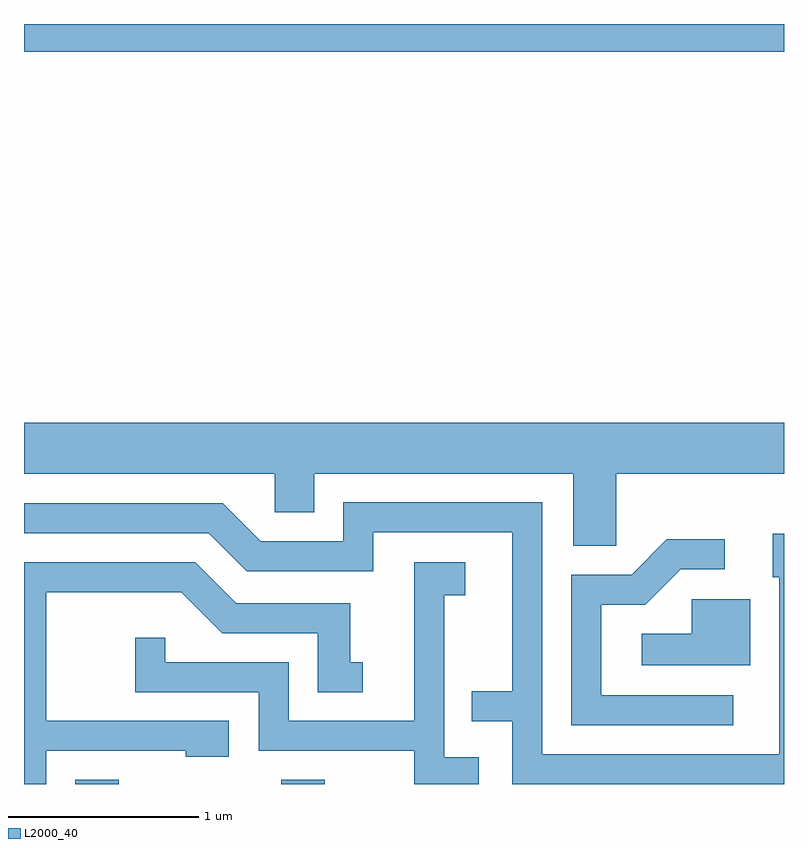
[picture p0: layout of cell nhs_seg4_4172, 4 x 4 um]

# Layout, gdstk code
import gdstk
lib = gdstk.Library(unit=1e-6, precision=1e-09)
def R(c, l, rs):  # rectangles x0, y0, x1, y1
    for r in rs: c.add(gdstk.rectangle(r[:2], r[2:], *l))
def P(c, l, *ps):  # polygons
    for p in ps: c.add(gdstk.Polygon(p, *l))
L2000_40 = (2000, 40)

nhs_seg4_4172 = lib.new_cell('nhs_seg4_4172')
R(nhs_seg4_4172, L2000_40, [(307.881,1301.982,308.109,1302.004), (308.966,1301.982,309.194,1302.004), (307.611,1305.836,311.611,1305.982)])
P(nhs_seg4_4172, L2000_40, [(310.729,1303.616),(311.611,1303.616),(311.611,1303.884),(307.611,1303.884),(307.611,1303.616),(308.931,1303.616),(308.931,1303.411),(309.139,1303.411),(309.139,1303.616),(310.501,1303.616),(310.501,1303.236),(310.729,1303.236)],
  [(311.611,1303.299),(311.551,1303.299),(311.551,1303.071),(311.586,1303.071),(311.586,1302.139),(310.339,1302.139),(310.339,1303.464),(309.291,1303.464),(309.291,1303.259),(308.857,1303.259),(308.657,1303.459),(307.611,1303.459),(307.611,1303.301),(308.584,1303.301),(308.784,1303.101),(309.449,1303.101),(309.449,1303.306),(310.181,1303.306),(310.181,1302.469),(309.968,1302.469),(309.968,1302.311),(310.181,1302.311),(310.181,1301.982),(311.611,1301.982)],
  [(311.343,1302.449),(310.649,1302.449),(310.649,1302.926),(310.882,1302.926),(311.067,1303.111),(311.298,1303.111),(311.298,1303.269),(310.994,1303.269),(310.809,1303.084),(310.491,1303.084),(310.491,1302.291),(311.343,1302.291)],
  [(310.004,1302.124),(309.824,1302.124),(309.824,1302.976),(309.934,1302.976),(309.934,1303.149),(309.666,1303.149),(309.666,1302.314),(309.004,1302.314),(309.004,1302.624),(308.354,1302.624),(308.354,1302.753),(308.196,1302.753),(308.196,1302.466),(308.846,1302.466),(308.846,1302.156),(309.666,1302.156),(309.666,1301.982),(310.004,1301.982)],
  [(307.729,1302.156),(308.461,1302.156),(308.461,1302.126),(308.689,1302.126),(308.689,1302.314),(307.729,1302.314),(307.729,1302.991),(308.439,1302.991),(308.654,1302.776),(309.156,1302.776),(309.156,1302.466),(309.393,1302.466),(309.393,1302.624),(309.329,1302.624),(309.329,1302.934),(308.727,1302.934),(308.512,1303.149),(307.611,1303.149),(307.611,1301.982),(307.729,1301.982)],
  [(311.434,1302.954),(311.126,1302.954),(311.126,1302.774),(310.863,1302.774),(310.863,1302.606),(311.434,1302.606)])

lib.write_gds('nhs_seg4_4172.gds')
